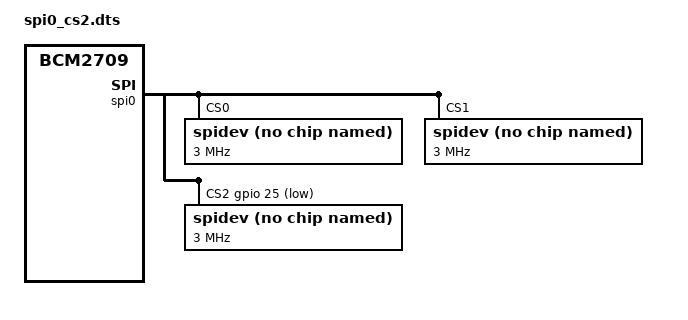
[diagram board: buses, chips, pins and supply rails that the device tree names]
/*
Device Tree Overlay for Ondes Framboise
Enables SPI0 using spi-bcm2835 driver with additional CE2 on GPIO25
Compile with
  dtc -@ -I dts -O dtb -o spi0_cs2.dtb spi0_cs2.dts
then copy to /boot/overlays/
  sudo cp spi0_cs2.dtb /boot/overlays/

Reboot the Pi and /dev/spidev0.2 should be present in addition to
the preexisting spidev0.0 and spidev0.2
*/

/dts-v1/;
/plugin/;

/ {

  compatible = "brcm,bcm2835", "brcm,bcm2836", "brcm,bcm2708", "brcm,bcm2709";

  /* SPI0 */
  fragment@0 {
    target = <&gpio>;
    __overlay__ {
      spi0_pins: spi0_pins {
        brcm,pins = <7 8 9 10 11>;
        brcm,function = <4>; /* alt0 */
      };     
    };
  };

  fragment@1 {
    target = <&spi0>;
    __overlay__ {
      #address-cells = <1>;
      #size-cells = <0>;
      pinctrl-0 = <&spi0_pins &spi0_cs_pins>;
      status = "okay";
      cs-gpios = <0>, <0>, <&gpio 25 1>;

      /*The first two <0>s request that native CS's 0 and 1 are used
        (even though the driver will convert them to GPIO CS's),
        and GPIO 25 is used as active-low chip select 2. */

      spidev@0 {
        compatible = "spidev";
        reg = <0>;	/* CE0 */
        #address-cells = <1>;
        #size-cells = <0>;
        spi-max-frequency = <3000000>;
      };

      spidev@1 {
        compatible = "spidev";
        reg = <1>;	/* CE1 */
        #address-cells = <1>;
        #size-cells = <0>;
        spi-max-frequency = <3000000>;
      };

      spidev@2 {
        compatible = "spidev";
        reg = <2>;   /* CE2 */
        #address-cells = <1>;
        #size-cells = <0>;
        spi-max-frequency = <3000000>;
      };

    };
  };

  /*reserve the extra GPIO 25 so no other drivers can claim it + mark it as output */

  fragment@2 {
    target = <&gpio>;
    __overlay__ {
      spi0_cs_pins: spi0_cs_pins {
        brcm,pins = <25>;
        brcm,function = <1>; /* out */
      };
    };
  };

};
